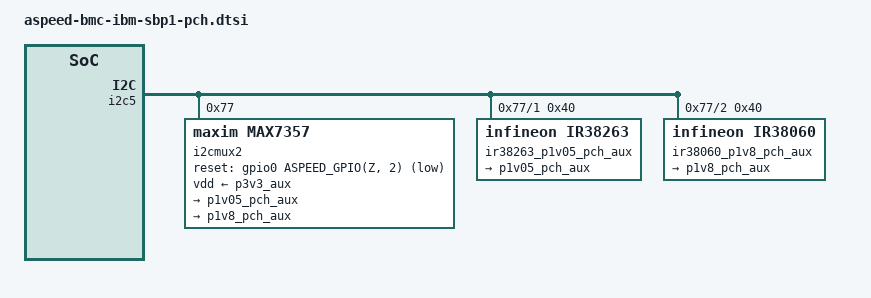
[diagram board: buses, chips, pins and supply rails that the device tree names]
&i2c5 { // BMC_MUX_VR_PCH_CPU
	status = "okay";

	i2cmux2: mux@77 {
		compatible = "maxim,max7357";
		#address-cells = <1>;
		#size-cells = <0>;
		reg = <0x77>;
		reset-gpios = <&gpio0 ASPEED_GPIO(Z, 2) (GPIO_ACTIVE_LOW | GPIO_OPEN_DRAIN)>; // BMC_MUX_VR_PCH_CPU_RST_INT_N
		vdd-supply = <&p3v3_aux>;

		i2c@1 { // SMB_VR_P1V05_PCH_AUX
			#address-cells = <1>;
			#size-cells = <0>;
			reg = <1>;

			ir38263_p1v05_pch_aux@40 {
				compatible = "infineon,ir38263";
				reg = <0x40>;

				regulators {
					p1v05_pch_aux: vout0 {
						regulator-compatible = "vout0";
						regulator-name = "p1v05_pch_aux";
						regulator-enable-ramp-delay = <2000>;
						vin-supply = <&p12v_a>;
					};
				};
			};
		};
		i2c@2 { // SMB_VR_P1V8_PCH_AUX
			#address-cells = <1>;
			#size-cells = <0>;
			reg = <2>;

			ir38060_p1v8_pch_aux@40 {
				compatible = "infineon,ir38060";
				reg = <0x40>;

				regulators {
					p1v8_pch_aux: vout0 {
						regulator-compatible = "vout0";
						regulator-name = "p1v8_pch_aux";
						regulator-enable-ramp-delay = <2000>;
						vin-supply = <&p12v_a>;
					};
				};
			};
		};
		i2c@4 { // SMB_SSD_CLK_DRVR0
			#address-cells = <1>;
			#size-cells = <0>;
			reg = <4>;
		};
		i2c@5 { // SMB_SSD_CLK_DRVR1
			#address-cells = <1>;
			#size-cells = <0>;
			reg = <5>;
		};
		i2c@6 { // SMB_CK440Q_LVC3
			#address-cells = <1>;
			#size-cells = <0>;
			reg = <6>;
		};
		i2c@7 { // SMB_DB2000_LVC3
			#address-cells = <1>;
			#size-cells = <0>;
			reg = <7>;
		};
	};
};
